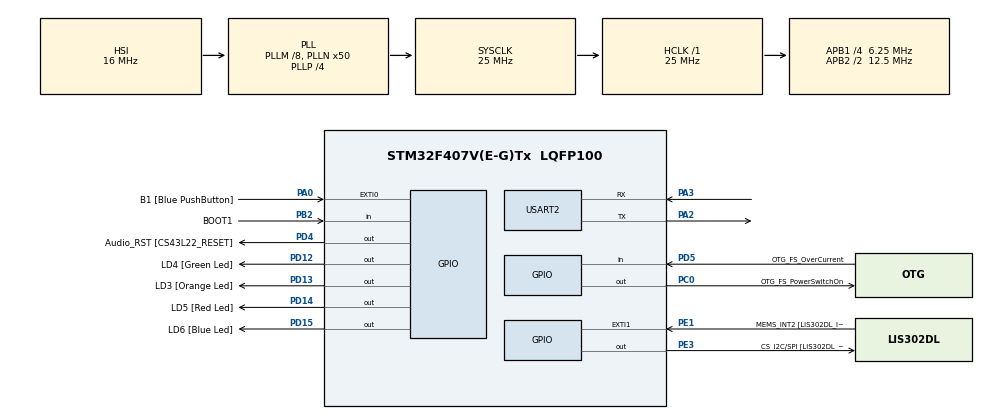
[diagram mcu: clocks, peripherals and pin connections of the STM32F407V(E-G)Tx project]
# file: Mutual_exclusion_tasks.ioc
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Mcu.Family=STM32F4
Mcu.Name=STM32F407V(E-G)Tx
Mcu.Package=LQFP100
NVIC.PriorityGroup=NVIC_PRIORITYGROUP_4
NVIC.TimeBase=TIM6_DAC_IRQn
NVIC.TimeBaseIP=TIM6
PA0-WKUP.GPIO_Label=B1 [Blue PushButton]
PA0-WKUP.Signal=GPXTI0
PA10.GPIO_Label=OTG_FS_ID
PA10.GPIO_Mode=GPIO_MODE_AF_PP
PA10.GPIO_PuPd=GPIO_NOPULL
PA10.GPIO_Speed=GPIO_SPEED_FREQ_LOW
PA10.Signal=USB_OTG_FS_ID
PA11.GPIO_Label=OTG_FS_DM
PA11.GPIO_Mode=GPIO_MODE_AF_PP
PA11.GPIO_PuPd=GPIO_NOPULL
PA11.GPIO_Speed=GPIO_SPEED_FREQ_LOW
PA11.Signal=USB_OTG_FS_DM
PA12.GPIO_Label=OTG_FS_DP
PA12.GPIO_Mode=GPIO_MODE_AF_PP
PA12.GPIO_PuPd=GPIO_NOPULL
PA12.GPIO_Speed=GPIO_SPEED_FREQ_LOW
PA12.Signal=USB_OTG_FS_DP
PA13.GPIO_Label=SWDIO
PA13.Signal=SYS_JTMS-SWDIO
PA14.GPIO_Label=SWCLK
PA14.Signal=SYS_JTCK-SWCLK
PA2.Mode=Asynchronous
PA2.Signal=USART2_TX
PA3.Mode=Asynchronous
PA3.Signal=USART2_RX
PA4.GPIO_Label=I2S3_WS [CS43L22_LRCK]
PA4.GPIO_Mode=GPIO_MODE_AF_PP
PA4.GPIO_PuPd=GPIO_NOPULL
PA4.GPIO_Speed=GPIO_SPEED_FREQ_LOW
PA4.Signal=I2S3_WS
PA5.GPIO_Label=SPI1_SCK [LIS302DL_SCL/SPC]
PA5.GPIO_Mode=GPIO_MODE_AF_PP
PA5.GPIO_PuPd=GPIO_NOPULL
PA5.GPIO_Speed=GPIO_SPEED_FREQ_LOW
PA5.Signal=SPI1_SCK
PA6.GPIO_Label=SPI1_MISO [LIS302DL_SDO]
PA6.GPIO_Mode=GPIO_MODE_AF_PP
PA6.GPIO_PuPd=GPIO_NOPULL
PA6.GPIO_Speed=GPIO_SPEED_FREQ_LOW
PA6.Signal=SPI1_MISO
PA7.GPIO_Label=SPI1_MOSI [LIS302DL_SDA/SDI/SDO]
PA7.GPIO_Mode=GPIO_MODE_AF_PP
PA7.GPIO_PuPd=GPIO_NOPULL
PA7.GPIO_Speed=GPIO_SPEED_FREQ_LOW
PA7.Signal=SPI1_MOSI
PA9.GPIO_Label=VBUS_FS
PA9.GPIO_Mode=GPIO_MODE_INPUT
PA9.GPIO_PuPd=GPIO_NOPULL
PA9.Signal=USB_OTG_FS_VBUS
PB10.GPIO_Label=CLK_IN [MP45DT02_CLK]
PB10.GPIO_Mode=GPIO_MODE_AF_PP
PB10.GPIO_PuPd=GPIO_NOPULL
PB10.GPIO_Speed=GPIO_SPEED_FREQ_LOW
PB10.Signal=I2S2_CK
PB2.GPIO_Label=BOOT1
PB2.GPIO_Mode=GPIO_MODE_INPUT
PB2.GPIO_PuPd=GPIO_NOPULL
PB2.Signal=GPIO_Input
PB3.GPIO_Label=SWO
PB3.Signal=SYS_JTDO-SWO
PB6.GPIO_Label=Audio_SCL [CS43L22_SCL]
PB6.GPIO_Mode=GPIO_MODE_AF_OD
PB6.GPIO_PuPd=GPIO_NOPULL
PB6.GPIO_Speed=GPIO_SPEED_FREQ_LOW
PB6.Signal=I2C1_SCL
PB9.GPIO_Label=Audio_SDA [CS43L22_SDA]
PB9.GPIO_Mode=GPIO_MODE_AF_OD
PB9.GPIO_PuPd=GPIO_NOPULL
PB9.GPIO_Speed=GPIO_SPEED_FREQ_LOW
PB9.Signal=I2C1_SDA
PC0.GPIO_Label=OTG_FS_PowerSwitchOn
PC0.GPIO_PuPd=GPIO_NOPULL
PC0.GPIO_Speed=GPIO_SPEED_FREQ_LOW
PC0.PinState=GPIO_PIN_SET
PC0.Signal=GPIO_Output
PC10.GPIO_Label=I2S3_SCK [CS43L22_SCLK]
PC10.GPIO_Mode=GPIO_MODE_AF_PP
PC10.GPIO_PuPd=GPIO_NOPULL
PC10.GPIO_Speed=GPIO_SPEED_FREQ_LOW
PC10.Signal=I2S3_CK
PC12.GPIO_Label=I2S3_SD [CS43L22_SDIN]
PC12.GPIO_Mode=GPIO_MODE_AF_PP
PC12.GPIO_PuPd=GPIO_NOPULL
PC12.GPIO_Speed=GPIO_SPEED_FREQ_LOW
PC12.Signal=I2S3_SD
PC14-OSC32_IN.GPIO_Label=PC14-OSC32_IN
PC14-OSC32_IN.Signal=RCC_OSC32_IN
PC15-OSC32_OUT.GPIO_Label=PC15-OSC32_OUT
PC15-OSC32_OUT.Signal=RCC_OSC32_OUT
PC3.GPIO_Label=PDM_OUT [MP45DT02_DOUT]
PC3.GPIO_Mode=GPIO_MODE_AF_PP
PC3.GPIO_PuPd=GPIO_NOPULL
PC3.GPIO_Speed=GPIO_SPEED_FREQ_LOW
PC3.Signal=I2S2_SD
PC7.GPIO_Label=I2S3_MCK [CS43L22_MCLK]
PC7.GPIO_Mode=GPIO_MODE_AF_PP
PC7.GPIO_PuPd=GPIO_NOPULL
PC7.GPIO_Speed=GPIO_SPEED_FREQ_LOW
PC7.Signal=I2S3_MCK
PD12.GPIO_Label=LD4 [Green Led]
PD12.GPIO_PuPd=GPIO_NOPULL
PD12.GPIO_Speed=GPIO_SPEED_FREQ_LOW
PD12.Signal=GPIO_Output
PD13.GPIO_Label=LD3 [Orange Led]
PD13.GPIO_PuPd=GPIO_NOPULL
PD13.GPIO_Speed=GPIO_SPEED_FREQ_LOW
PD13.Signal=GPIO_Output
PD14.GPIO_Label=LD5 [Red Led]
PD14.GPIO_PuPd=GPIO_NOPULL
PD14.GPIO_Speed=GPIO_SPEED_FREQ_LOW
PD14.Signal=GPIO_Output
PD15.GPIO_Label=LD6 [Blue Led]
PD15.GPIO_PuPd=GPIO_NOPULL
PD15.GPIO_Speed=GPIO_SPEED_FREQ_LOW
PD15.Signal=GPIO_Output
PD4.GPIO_Label=Audio_RST [CS43L22_RESET]
PD4.GPIO_PuPd=GPIO_NOPULL
PD4.GPIO_Speed=GPIO_SPEED_FREQ_LOW
PD4.Signal=GPIO_Output
PD5.GPIO_Label=OTG_FS_OverCurrent
PD5.GPIO_Mode=GPIO_MODE_INPUT
PD5.GPIO_PuPd=GPIO_NOPULL
PD5.Signal=GPIO_Input
PE1.GPIO_Label=MEMS_INT2 [LIS302DL_INT2]
PE1.GPIO_ModeDefaultEXTI=GPIO_MODE_EVT_RISING
PE1.GPIO_PuPd=GPIO_NOPULL
PE1.Signal=GPXTI1
PE3.GPIO_Label=CS_I2C/SPI [LIS302DL_CS_I2C/SPI]
PE3.GPIO_PuPd=GPIO_NOPULL
PE3.GPIO_Speed=GPIO_SPEED_FREQ_LOW
PE3.Signal=GPIO_Output
PH0-OSC_IN.GPIO_Label=PH0-OSC_IN
PH0-OSC_IN.Signal=RCC_OSC_IN
PH1-OSC_OUT.GPIO_Label=PH1-OSC_OUT
PH1-OSC_OUT.Signal=RCC_OSC_OUT
ProjectManager.HeapSize=0x200
ProjectManager.StackSize=0x400
ProjectManager.TargetToolchain=STM32CubeIDE
RCC.48MHZClocksFreq_Value=14285714.285714285
RCC.AHBFreq_Value=25000000
RCC.APB1CLKDivider=RCC_HCLK_DIV4
RCC.APB1Freq_Value=6250000
RCC.APB1TimFreq_Value=12500000
RCC.APB2CLKDivider=RCC_HCLK_DIV2
RCC.APB2Freq_Value=12500000
RCC.APB2TimFreq_Value=25000000
RCC.CortexFreq_Value=25000000
RCC.HCLKFreq_Value=25000000
RCC.HSE_VALUE=8000000
RCC.HSI_VALUE=16000000
RCC.LSE_VALUE=32768
RCC.PLLM=8
RCC.PLLN=50
RCC.PLLP=RCC_PLLP_DIV4
RCC.PLLQ=7
RCC.SYSCLKFreq_VALUE=25000000
RCC.SYSCLKSource=RCC_SYSCLKSOURCE_PLLCLK
RCC.VCOOutputFreq_Value=100000000
USART2.VirtualMode=VM_ASYNC
VP_SYS_VS_tim6.Mode=TIM6
board=STM32F407G-DISC1

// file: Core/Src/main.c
/* USER CODE BEGIN Header */
/**
  ******************************************************************************
  * @file           : main.c
  * @brief          : Main program body
  ******************************************************************************
  * @attention
  *
  * Copyright (c) 2025 STMicroelectronics.
  * All rights reserved.
  *
  * This software is licensed under terms that can be found in the LICENSE file
  * in the root directory of this software component.
  * If no LICENSE file comes with this software, it is provided AS-IS.
  *
  ******************************************************************************
  */
/* USER CODE END Header */
#include "main.h"

/* USER CODE BEGIN Includes */
#include"FreeRTOS.h"
#include<stdio.h>

#include"Queue.h"
#include<stdint.h>
#include"Task.h"
#include"timers.h"
#include"semphr.h"
#include<string.h>
#include<stdlib.h>

/* USER CODE END Includes */

UART_HandleTypeDef huart2;

void SystemClock_Config(void);
static void MX_GPIO_Init(void);
static void MX_USART2_UART_Init(void);
SemaphoreHandle_t xWork;
TaskHandle_t Task1;
TaskHandle_t Task2;
void Task1_handler(void * parm);
void Task2_handler(void * parm);
void Print_Task(char* chr);
char msg_str[100]={0};

int main(void)
{
	BaseType_t status;

  /* USER CODE BEGIN 1 */
	xWork=xSemaphoreCreateBinary();
	if(!(xWork==NULL)){
		status=xTaskCreate(Task1_handler, "task1", 200, NULL, 2, &Task1);
		configASSERT(status==pdPASS);
		status=xTaskCreate(Task2_handler, "task2", 200, NULL, 2, &Task2);
	    configASSERT(status==pdPASS);

	}
	else{
		sprintf(msg_str,"Heap memory is full !!");
		Print_Task(msg_str);

	}

  /* USER CODE END 1 */

  /* MCU Configuration--------------------------------------------------------*/

  /* Reset of all peripherals, Initializes the Flash interface and the Systick. */
  HAL_Init();

  /* Configure the system clock */
  SystemClock_Config();

  /* Initialize all configured peripherals */
  MX_GPIO_Init();
  MX_USART2_UART_Init();

  /* Infinite loop */
  while (1)
  {

  }
}

void SystemClock_Config(void)
{
  RCC_OscInitTypeDef RCC_OscInitStruct = {0};
  RCC_ClkInitTypeDef RCC_ClkInitStruct = {0};

  /** Configure the main internal regulator output voltage
  */
  __HAL_RCC_PWR_CLK_ENABLE();
  __HAL_PWR_VOLTAGESCALING_CONFIG(PWR_REGULATOR_VOLTAGE_SCALE1);

  /** Initializes the RCC Oscillators according to the specified parameters
  * in the RCC_OscInitTypeDef structure.
  */
  RCC_OscInitStruct.OscillatorType = RCC_OSCILLATORTYPE_HSI;
  RCC_OscInitStruct.HSIState = RCC_HSI_ON;
  RCC_OscInitStruct.HSICalibrationValue = RCC_HSICALIBRATION_DEFAULT;
  RCC_OscInitStruct.PLL.PLLState = RCC_PLL_ON;
  RCC_OscInitStruct.PLL.PLLSource = RCC_PLLSOURCE_HSI;
  RCC_OscInitStruct.PLL.PLLM = 8;
  RCC_OscInitStruct.PLL.PLLN = 50;
  RCC_OscInitStruct.PLL.PLLP = RCC_PLLP_DIV4;
  RCC_OscInitStruct.PLL.PLLQ = 7;
  if (HAL_RCC_OscConfig(&RCC_OscInitStruct) != HAL_OK)
  {
    Error_Handler();
  }

  /** Initializes the CPU, AHB and APB buses clocks
  */
  RCC_ClkInitStruct.ClockType = RCC_CLOCKTYPE_HCLK|RCC_CLOCKTYPE_SYSCLK
                              |RCC_CLOCKTYPE_PCLK1|RCC_CLOCKTYPE_PCLK2;
  RCC_ClkInitStruct.SYSCLKSource = RCC_SYSCLKSOURCE_PLLCLK;
  RCC_ClkInitStruct.AHBCLKDivider = RCC_SYSCLK_DIV1;
  RCC_ClkInitStruct.APB1CLKDivider = RCC_HCLK_DIV4;
  RCC_ClkInitStruct.APB2CLKDivider = RCC_HCLK_DIV2;

  if (HAL_RCC_ClockConfig(&RCC_ClkInitStruct, FLASH_LATENCY_0) != HAL_OK)
  {
    Error_Handler();
  }
}

static void MX_USART2_UART_Init(void)
{

  huart2.Instance = USART2;
  huart2.Init.BaudRate = 115200;
  huart2.Init.WordLength = UART_WORDLENGTH_8B;
  huart2.Init.StopBits = UART_STOPBITS_1;
  huart2.Init.Parity = UART_PARITY_NONE;
  huart2.Init.Mode = UART_MODE_TX_RX;
  huart2.Init.HwFlowCtl = UART_HWCONTROL_NONE;
  huart2.Init.OverSampling = UART_OVERSAMPLING_16;
  if (HAL_UART_Init(&huart2) != HAL_OK)
  {
    Error_Handler();
  }

}

static void MX_GPIO_Init(void)
{
  GPIO_InitTypeDef GPIO_InitStruct = {0};

  /* GPIO Ports Clock Enable */
  __HAL_RCC_GPIOE_CLK_ENABLE();
  __HAL_RCC_GPIOC_CLK_ENABLE();
  __HAL_RCC_GPIOH_CLK_ENABLE();
  __HAL_RCC_GPIOA_CLK_ENABLE();
  __HAL_RCC_GPIOB_CLK_ENABLE();
  __HAL_RCC_GPIOD_CLK_ENABLE();

  /*Configure GPIO pin Output Level */
  HAL_GPIO_WritePin(CS_I2C_SPI_GPIO_Port, CS_I2C_SPI_Pin, GPIO_PIN_RESET);

  /*Configure GPIO pin Output Level */
  HAL_GPIO_WritePin(OTG_FS_PowerSwitchOn_GPIO_Port, OTG_FS_PowerSwitchOn_Pin, GPIO_PIN_SET);

  /*Configure GPIO pin Output Level */
  HAL_GPIO_WritePin(GPIOD, LD4_Pin|LD3_Pin|LD5_Pin|LD6_Pin
                          |Audio_RST_Pin, GPIO_PIN_RESET);

  /*Configure GPIO pin : CS_I2C_SPI_Pin */
  GPIO_InitStruct.Pin = CS_I2C_SPI_Pin;
  GPIO_InitStruct.Mode = GPIO_MODE_OUTPUT_PP;
  GPIO_InitStruct.Pull = GPIO_NOPULL;
  GPIO_InitStruct.Speed = GPIO_SPEED_FREQ_LOW;
  HAL_GPIO_Init(CS_I2C_SPI_GPIO_Port, &GPIO_InitStruct);

  /*Configure GPIO pin : OTG_FS_PowerSwitchOn_Pin */
  GPIO_InitStruct.Pin = OTG_FS_PowerSwitchOn_Pin;
  GPIO_InitStruct.Mode = GPIO_MODE_OUTPUT_PP;
  GPIO_InitStruct.Pull = GPIO_NOPULL;
  GPIO_InitStruct.Speed = GPIO_SPEED_FREQ_LOW;
  HAL_GPIO_Init(OTG_FS_PowerSwitchOn_GPIO_Port, &GPIO_InitStruct);

  /*Configure GPIO pin : PDM_OUT_Pin */
  GPIO_InitStruct.Pin = PDM_OUT_Pin;
  GPIO_InitStruct.Mode = GPIO_MODE_AF_PP;
  GPIO_InitStruct.Pull = GPIO_NOPULL;
  GPIO_InitStruct.Speed = GPIO_SPEED_FREQ_LOW;
  GPIO_InitStruct.Alternate = GPIO_AF5_SPI2;
  HAL_GPIO_Init(PDM_OUT_GPIO_Port, &GPIO_InitStruct);

  /*Configure GPIO pin : B1_Pin */
  GPIO_InitStruct.Pin = B1_Pin;
  GPIO_InitStruct.Mode = GPIO_MODE_IT_RISING;
  GPIO_InitStruct.Pull = GPIO_NOPULL;
  HAL_GPIO_Init(B1_GPIO_Port, &GPIO_InitStruct);

  /*Configure GPIO pin : I2S3_WS_Pin */
  GPIO_InitStruct.Pin = I2S3_WS_Pin;
  GPIO_InitStruct.Mode = GPIO_MODE_AF_PP;
  GPIO_InitStruct.Pull = GPIO_NOPULL;
  GPIO_InitStruct.Speed = GPIO_SPEED_FREQ_LOW;
  GPIO_InitStruct.Alternate = GPIO_AF6_SPI3;
  HAL_GPIO_Init(I2S3_WS_GPIO_Port, &GPIO_InitStruct);

  /*Configure GPIO pins : SPI1_SCK_Pin SPI1_MISO_Pin SPI1_MOSI_Pin */
  GPIO_InitStruct.Pin = SPI1_SCK_Pin|SPI1_MISO_Pin|SPI1_MOSI_Pin;
  GPIO_InitStruct.Mode = GPIO_MODE_AF_PP;
  GPIO_InitStruct.Pull = GPIO_NOPULL;
  GPIO_InitStruct.Speed = GPIO_SPEED_FREQ_LOW;
  GPIO_InitStruct.Alternate = GPIO_AF5_SPI1;
  HAL_GPIO_Init(GPIOA, &GPIO_InitStruct);

  /*Configure GPIO pin : BOOT1_Pin */
  GPIO_InitStruct.Pin = BOOT1_Pin;
  GPIO_InitStruct.Mode = GPIO_MODE_INPUT;
  GPIO_InitStruct.Pull = GPIO_NOPULL;
  HAL_GPIO_Init(BOOT1_GPIO_Port, &GPIO_InitStruct);

  /*Configure GPIO pin : CLK_IN_Pin */
  GPIO_InitStruct.Pin = CLK_IN_Pin;
  GPIO_InitStruct.Mode = GPIO_MODE_AF_PP;
  GPIO_InitStruct.Pull = GPIO_NOPULL;
  GPIO_InitStruct.Speed = GPIO_SPEED_FREQ_LOW;
  GPIO_InitStruct.Alternate = GPIO_AF5_SPI2;
  HAL_GPIO_Init(CLK_IN_GPIO_Port, &GPIO_InitStruct);

  /*Configure GPIO pins : LD4_Pin LD3_Pin LD5_Pin LD6_Pin
                           Audio_RST_Pin */
  GPIO_InitStruct.Pin = LD4_Pin|LD3_Pin|LD5_Pin|LD6_Pin
                          |Audio_RST_Pin;
  GPIO_InitStruct.Mode = GPIO_MODE_OUTPUT_PP;
  GPIO_InitStruct.Pull = GPIO_NOPULL;
  GPIO_InitStruct.Speed = GPIO_SPEED_FREQ_LOW;
  HAL_GPIO_Init(GPIOD, &GPIO_InitStruct);

  /*Configure GPIO pins : I2S3_MCK_Pin I2S3_SCK_Pin I2S3_SD_Pin */
  GPIO_InitStruct.Pin = I2S3_MCK_Pin|I2S3_SCK_Pin|I2S3_SD_Pin;
  GPIO_InitStruct.Mode = GPIO_MODE_AF_PP;
  GPIO_InitStruct.Pull = GPIO_NOPULL;
  GPIO_InitStruct.Speed = GPIO_SPEED_FREQ_LOW;
  GPIO_InitStruct.Alternate = GPIO_AF6_SPI3;
  HAL_GPIO_Init(GPIOC, &GPIO_InitStruct);

  /*Configure GPIO pin : VBUS_FS_Pin */
  GPIO_InitStruct.Pin = VBUS_FS_Pin;
  GPIO_InitStruct.Mode = GPIO_MODE_INPUT;
  GPIO_InitStruct.Pull = GPIO_NOPULL;
  HAL_GPIO_Init(VBUS_FS_GPIO_Port, &GPIO_InitStruct);

  /*Configure GPIO pins : OTG_FS_ID_Pin OTG_FS_DM_Pin OTG_FS_DP_Pin */
  GPIO_InitStruct.Pin = OTG_FS_ID_Pin|OTG_FS_DM_Pin|OTG_FS_DP_Pin;
  GPIO_InitStruct.Mode = GPIO_MODE_AF_PP;
  GPIO_InitStruct.Pull = GPIO_NOPULL;
  GPIO_InitStruct.Speed = GPIO_SPEED_FREQ_LOW;
  GPIO_InitStruct.Alternate = GPIO_AF10_OTG_FS;
  HAL_GPIO_Init(GPIOA, &GPIO_InitStruct);

  /*Configure GPIO pin : OTG_FS_OverCurrent_Pin */
  GPIO_InitStruct.Pin = OTG_FS_OverCurrent_Pin;
  GPIO_InitStruct.Mode = GPIO_MODE_INPUT;
  GPIO_InitStruct.Pull = GPIO_NOPULL;
  HAL_GPIO_Init(OTG_FS_OverCurrent_GPIO_Port, &GPIO_InitStruct);

  /*Configure GPIO pins : Audio_SCL_Pin Audio_SDA_Pin */
  GPIO_InitStruct.Pin = Audio_SCL_Pin|Audio_SDA_Pin;
  GPIO_InitStruct.Mode = GPIO_MODE_AF_OD;
  GPIO_InitStruct.Pull = GPIO_NOPULL;
  GPIO_InitStruct.Speed = GPIO_SPEED_FREQ_LOW;
  GPIO_InitStruct.Alternate = GPIO_AF4_I2C1;
  HAL_GPIO_Init(GPIOB, &GPIO_InitStruct);

  /*Configure GPIO pin : MEMS_INT2_Pin */
  GPIO_InitStruct.Pin = MEMS_INT2_Pin;
  GPIO_InitStruct.Mode = GPIO_MODE_EVT_RISING;
  GPIO_InitStruct.Pull = GPIO_NOPULL;
  HAL_GPIO_Init(MEMS_INT2_GPIO_Port, &GPIO_InitStruct);

}

 /*
  * @brief  Period elapsed callback in non blocking mode
  * @note   This function is called  when TIM6 interrupt took place, inside
  * HAL_TIM_IRQHandler(). It makes a direct call to HAL_IncTick() to increment
  * a global variable "uwTick" used as application time base.
  * @param  htim : TIM handle
  * @retval None
  */

void HAL_TIM_PeriodElapsedCallback(TIM_HandleTypeDef *htim)
{
  if (htim->Instance == TIM6)
  {
    HAL_IncTick();
  }
}

void Error_Handler(void)
{
  __disable_irq();
  while (1)
  {
  }
}
